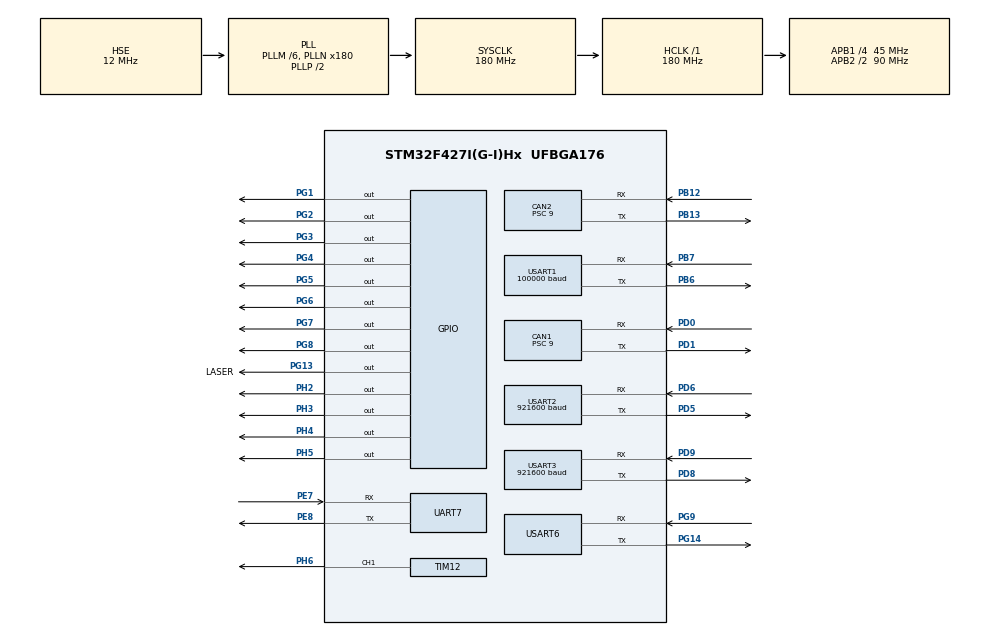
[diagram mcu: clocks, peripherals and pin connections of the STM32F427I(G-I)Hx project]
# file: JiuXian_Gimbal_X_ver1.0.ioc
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CAN1.BS1=CAN_BS1_2TQ
CAN1.BS2=CAN_BS2_2TQ
CAN1.CalculateBaudRate=1000000
CAN1.CalculateTimeBit=1000
CAN1.CalculateTimeQuantum=200.0
CAN1.NART=ENABLE
CAN1.Prescaler=9
CAN2.BS1=CAN_BS1_2TQ
CAN2.BS2=CAN_BS2_2TQ
CAN2.CalculateBaudRate=1000000
CAN2.CalculateTimeBit=1000
CAN2.CalculateTimeQuantum=200.0
CAN2.Prescaler=9
Dma.Request0=USART3_RX
Dma.Request1=USART3_TX
Dma.Request2=USART6_RX
Dma.Request3=USART6_TX
Dma.Request4=USART1_RX
Dma.Request5=USART2_RX
Dma.Request6=USART2_TX
Dma.USART1_RX.4.Direction=DMA_PERIPH_TO_MEMORY
Dma.USART1_RX.4.FIFOMode=DMA_FIFOMODE_DISABLE
Dma.USART1_RX.4.Instance=DMA2_Stream2
Dma.USART1_RX.4.MemDataAlignment=DMA_MDATAALIGN_BYTE
Dma.USART1_RX.4.MemInc=DMA_MINC_ENABLE
Dma.USART1_RX.4.Mode=DMA_NORMAL
Dma.USART1_RX.4.PeriphDataAlignment=DMA_PDATAALIGN_BYTE
Dma.USART1_RX.4.PeriphInc=DMA_PINC_DISABLE
Dma.USART1_RX.4.Priority=DMA_PRIORITY_LOW
Dma.USART2_RX.5.Direction=DMA_PERIPH_TO_MEMORY
Dma.USART2_RX.5.FIFOMode=DMA_FIFOMODE_DISABLE
Dma.USART2_RX.5.Instance=DMA1_Stream5
Dma.USART2_RX.5.MemDataAlignment=DMA_MDATAALIGN_BYTE
Dma.USART2_RX.5.MemInc=DMA_MINC_ENABLE
Dma.USART2_RX.5.Mode=DMA_NORMAL
Dma.USART2_RX.5.PeriphDataAlignment=DMA_PDATAALIGN_BYTE
Dma.USART2_RX.5.PeriphInc=DMA_PINC_DISABLE
Dma.USART2_RX.5.Priority=DMA_PRIORITY_LOW
Dma.USART2_TX.6.Direction=DMA_MEMORY_TO_PERIPH
Dma.USART2_TX.6.FIFOMode=DMA_FIFOMODE_DISABLE
Dma.USART2_TX.6.Instance=DMA1_Stream6
Dma.USART2_TX.6.MemDataAlignment=DMA_MDATAALIGN_BYTE
Dma.USART2_TX.6.MemInc=DMA_MINC_ENABLE
Dma.USART2_TX.6.Mode=DMA_NORMAL
Dma.USART2_TX.6.PeriphDataAlignment=DMA_PDATAALIGN_BYTE
Dma.USART2_TX.6.PeriphInc=DMA_PINC_DISABLE
Dma.USART2_TX.6.Priority=DMA_PRIORITY_LOW
Dma.USART3_RX.0.Direction=DMA_PERIPH_TO_MEMORY
Dma.USART3_RX.0.FIFOMode=DMA_FIFOMODE_DISABLE
Dma.USART3_RX.0.Instance=DMA1_Stream1
Dma.USART3_RX.0.MemDataAlignment=DMA_MDATAALIGN_BYTE
Dma.USART3_RX.0.MemInc=DMA_MINC_ENABLE
Dma.USART3_RX.0.Mode=DMA_NORMAL
Dma.USART3_RX.0.PeriphDataAlignment=DMA_PDATAALIGN_BYTE
Dma.USART3_RX.0.PeriphInc=DMA_PINC_DISABLE
Dma.USART3_RX.0.Priority=DMA_PRIORITY_LOW
Dma.USART3_TX.1.Direction=DMA_MEMORY_TO_PERIPH
Dma.USART3_TX.1.FIFOMode=DMA_FIFOMODE_DISABLE
Dma.USART3_TX.1.Instance=DMA1_Stream3
Dma.USART3_TX.1.MemDataAlignment=DMA_MDATAALIGN_BYTE
Dma.USART3_TX.1.MemInc=DMA_MINC_ENABLE
Dma.USART3_TX.1.Mode=DMA_NORMAL
Dma.USART3_TX.1.PeriphDataAlignment=DMA_PDATAALIGN_BYTE
Dma.USART3_TX.1.PeriphInc=DMA_PINC_DISABLE
Dma.USART3_TX.1.Priority=DMA_PRIORITY_LOW
Dma.USART6_RX.2.Direction=DMA_PERIPH_TO_MEMORY
Dma.USART6_RX.2.FIFOMode=DMA_FIFOMODE_DISABLE
Dma.USART6_RX.2.Instance=DMA2_Stream1
Dma.USART6_RX.2.MemDataAlignment=DMA_MDATAALIGN_BYTE
Dma.USART6_RX.2.MemInc=DMA_MINC_ENABLE
Dma.USART6_RX.2.Mode=DMA_NORMAL
Dma.USART6_RX.2.PeriphDataAlignment=DMA_PDATAALIGN_BYTE
Dma.USART6_RX.2.PeriphInc=DMA_PINC_DISABLE
Dma.USART6_RX.2.Priority=DMA_PRIORITY_LOW
Dma.USART6_TX.3.Direction=DMA_MEMORY_TO_PERIPH
Dma.USART6_TX.3.FIFOMode=DMA_FIFOMODE_DISABLE
Dma.USART6_TX.3.Instance=DMA2_Stream6
Dma.USART6_TX.3.MemDataAlignment=DMA_MDATAALIGN_BYTE
Dma.USART6_TX.3.MemInc=DMA_MINC_ENABLE
Dma.USART6_TX.3.Mode=DMA_NORMAL
Dma.USART6_TX.3.PeriphDataAlignment=DMA_PDATAALIGN_BYTE
Dma.USART6_TX.3.PeriphInc=DMA_PINC_DISABLE
Dma.USART6_TX.3.Priority=DMA_PRIORITY_LOW
FREERTOS.Tasks01=ctrlTask,50,1024,ctrl_node,As weak,NULL,Dynamic,NULL,NULL;DebugTask,50,256,Serial_node,As weak,NULL,Dynamic,NULL,NULL;Master_task,50,512,Master_node,As weak,Master_node,Dynamic,NULL,NULL;sentry_buzzer,50,256,buzzer_task,As weak,NULL,Dynamic,NULL,NULL
FREERTOS.configENABLE_FPU=1
Mcu.Family=STM32F4
Mcu.Name=STM32F427I(G-I)Hx
Mcu.Package=UFBGA176
NVIC.CAN1_RX0_IRQn=true\:5\:0\:false\:false\:true\:true\:true\:true\:true
NVIC.CAN2_RX0_IRQn=true\:5\:0\:false\:false\:true\:true\:true\:true\:true
NVIC.CAN2_RX1_IRQn=true\:5\:0\:false\:false\:true\:true\:true\:true\:true
NVIC.DMA1_Stream1_IRQn=true\:5\:0\:false\:false\:true\:true\:false\:true\:true
NVIC.DMA1_Stream3_IRQn=true\:5\:0\:false\:false\:true\:true\:false\:true\:true
NVIC.DMA1_Stream5_IRQn=true\:5\:0\:false\:false\:true\:true\:false\:true\:true
NVIC.DMA1_Stream6_IRQn=true\:5\:0\:false\:false\:true\:true\:false\:true\:true
NVIC.DMA2_Stream1_IRQn=true\:5\:0\:false\:false\:true\:true\:false\:true\:true
NVIC.DMA2_Stream2_IRQn=true\:5\:0\:false\:false\:true\:true\:false\:true\:true
NVIC.DMA2_Stream6_IRQn=true\:5\:0\:false\:false\:true\:true\:false\:true\:true
NVIC.PriorityGroup=NVIC_PRIORITYGROUP_4
NVIC.TIM1_UP_TIM10_IRQn=true\:5\:0\:false\:false\:true\:true\:true\:true\:true
NVIC.TIM2_IRQn=true\:15\:0\:false\:false\:true\:false\:false\:true\:true
NVIC.TimeBase=TIM2_IRQn
NVIC.TimeBaseIP=TIM2
NVIC.USART1_IRQn=true\:5\:0\:false\:false\:true\:true\:true\:true\:true
NVIC.USART2_IRQn=true\:5\:0\:false\:false\:true\:true\:true\:true\:true
NVIC.USART3_IRQn=true\:5\:0\:false\:false\:true\:true\:true\:true\:true
NVIC.USART6_IRQn=true\:5\:0\:false\:false\:true\:true\:true\:true\:true
PA13.Mode=Serial_Wire
PA13.Signal=SYS_JTMS-SWDIO
PA14.Mode=Serial_Wire
PA14.Signal=SYS_JTCK-SWCLK
PB12.Mode=CAN_Activate
PB12.Signal=CAN2_RX
PB13.Mode=CAN_Activate
PB13.Signal=CAN2_TX
PB6.Mode=Asynchronous
PB6.Signal=USART1_TX
PB7.Mode=Asynchronous
PB7.Signal=USART1_RX
PD0.Mode=CAN_Activate
PD0.Signal=CAN1_RX
PD1.Mode=CAN_Activate
PD1.Signal=CAN1_TX
PD5.Mode=Asynchronous
PD5.Signal=USART2_TX
PD6.Mode=Asynchronous
PD6.Signal=USART2_RX
PD8.Mode=Asynchronous
PD8.Signal=USART3_TX
PD9.Mode=Asynchronous
PD9.Signal=USART3_RX
PE7.Mode=Asynchronous
PE7.Signal=UART7_RX
PE8.Mode=Asynchronous
PE8.Signal=UART7_TX
PG1.Signal=GPIO_Output
PG13.GPIO_Label=LASER
PG13.Signal=GPIO_Output
PG14.Mode=Asynchronous
PG14.Signal=USART6_TX
PG2.Signal=GPIO_Output
PG3.Signal=GPIO_Output
PG4.Signal=GPIO_Output
PG5.Signal=GPIO_Output
PG6.Signal=GPIO_Output
PG7.Signal=GPIO_Output
PG8.Signal=GPIO_Output
PG9.Mode=Asynchronous
PG9.Signal=USART6_RX
PH0/OSC_IN.Mode=HSE-External-Oscillator
PH0/OSC_IN.Signal=RCC_OSC_IN
PH1/OSC_OUT.Mode=HSE-External-Oscillator
PH1/OSC_OUT.Signal=RCC_OSC_OUT
PH2.Signal=GPIO_Output
PH3.Signal=GPIO_Output
PH4.Signal=GPIO_Output
PH5.Signal=GPIO_Output
PH6.Signal=S_TIM12_CH1
ProjectManager.HeapSize=0x2000
ProjectManager.StackSize=0x4000
ProjectManager.TargetToolchain=MDK-ARM V5.32
RCC.48MHZClocksFreq_Value=90000000
RCC.AHBFreq_Value=180000000
RCC.APB1CLKDivider=RCC_HCLK_DIV4
RCC.APB1Freq_Value=45000000
RCC.APB1TimFreq_Value=90000000
RCC.APB2CLKDivider=RCC_HCLK_DIV2
RCC.APB2Freq_Value=90000000
RCC.APB2TimFreq_Value=180000000
RCC.CortexFreq_Value=180000000
RCC.HCLKFreq_Value=180000000
RCC.HSE_VALUE=12000000
RCC.HSI_VALUE=16000000
RCC.LSE_VALUE=32768
RCC.PLLM=6
RCC.PLLN=180
RCC.PLLSourceVirtual=RCC_PLLSOURCE_HSE
RCC.SYSCLKFreq_VALUE=180000000
RCC.SYSCLKSource=RCC_SYSCLKSOURCE_PLLCLK
RCC.VCOOutputFreq_Value=360000000
SH.S_TIM12_CH1.0=TIM12_CH1,PWM Generation1 CH1
STMicroelectronics.X-CUBE-ALGOBUILD.1.4.0.LibraryCcDSPOoLibraryJjDSPOoLibrary=true
TIM1.Period=9999
TIM1.Prescaler=179
TIM12.Channel-PWM\ Generation1\ CH1=TIM_CHANNEL_1
TIM12.Period=899
UART7.VirtualMode=Asynchronous
USART1.BaudRate=100000
USART1.Parity=PARITY_EVEN
USART1.StopBits=STOPBITS_2
USART1.VirtualMode=VM_ASYNC
USART1.WordLength=WORDLENGTH_9B
USART2.BaudRate=921600
USART2.VirtualMode=VM_ASYNC
USART3.BaudRate=921600
USART3.VirtualMode=VM_ASYNC
USART6.VirtualMode=VM_ASYNC
VP_FREERTOS_VS_CMSIS_V2.Mode=CMSIS_V2
VP_STMicroelectronics.X-CUBE-ALGOBUILD_VS_DSPOoLibraryJjLibrary_1.4.0_1.4.0.Mode=DSPOoLibraryJjLibrary
VP_SYS_VS_tim2.Mode=TIM2
VP_TIM1_VS_ClockSourceINT.Mode=Internal
board=custom

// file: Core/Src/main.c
/* USER CODE BEGIN Header */
/**
  ******************************************************************************
  * @file           : main.c
  * @brief          : Main program body
  ******************************************************************************
  * @attention
  *
  * Copyright (c) 2025 STMicroelectronics.
  * All rights reserved.
  *
  * This software is licensed under terms that can be found in the LICENSE file
  * in the root directory of this software component.
  * If no LICENSE file comes with this software, it is provided AS-IS.
  *
  ******************************************************************************
  */
/* USER CODE END Header */
#include "main.h"
#include "cmsis_os.h"
#include "can.h"
#include "dma.h"
#include "tim.h"
#include "usart.h"
#include "gpio.h"

/* USER CODE BEGIN Includes */
#include "bsp_can.h"
#include "stdio.h"

#include "SerialPlot.h"

#include "bsp_can.h"
#include "Flysky_bsp.h"
#include "bsp_wit.h"

#include "ctrl_node.h"
#include "master_node.h"

#include "NLADRC_ver1.h"
/* USER CODE END Includes */

/* USER CODE BEGIN PV */
extern Motor_info_t  Pitch_Motor;
extern Motor_info_t  Fire_Motor[2];
extern int16_t       current_test;
extern int32_t       test_tick;
extern nladrc_t      GM6020_nladrc;
extern sentry_remote sentry_Remote;

extern _sentry_normal_auto_data_t Auto_Mode;
extern _sentry_remote_data_t      RemoteCtrl;
extern _sentry_data_t             sentry_RM2026;
extern wit_imu_t                  wit;
/* USER CODE END PV */

void SystemClock_Config(void);
void MX_FREERTOS_Init(void);

/* USER CODE BEGIN 0 */
int fputc(int ch, FILE *f)
{
	HAL_UART_Transmit(&huart7, (uint8_t *)&ch, 1, 0xFFFF);
  return ch;
}
/* USER CODE END 0 */

int main(void)
{

  /* MCU Configuration--------------------------------------------------------*/

  /* Reset of all peripherals, Initializes the Flash interface and the Systick. */
  HAL_Init();

  /* Configure the system clock */
  SystemClock_Config();

  /* Initialize all configured peripherals */
  MX_GPIO_Init();
  MX_DMA_Init();
  MX_CAN1_Init();
  MX_CAN2_Init();
  MX_USART3_UART_Init();
  MX_USART6_UART_Init();
  MX_USART1_UART_Init();
  MX_USART2_UART_Init();
  MX_TIM1_Init();
  MX_TIM12_Init();
  MX_UART7_Init();
  /* USER CODE BEGIN 2 */
  HAL_TIM_Base_Start_IT(&htim1);
	HAL_TIM_Base_Start(&htim12);
	HAL_TIM_PWM_Start(&htim12, TIM_CHANNEL_1);
	can1_filter_init();
	can2_filter_init();
	HAL_GPIO_WritePin(LASER_GPIO_Port, LASER_Pin, 1);
	HAL_GPIO_WritePin(GPIOH, GPIO_PIN_2 | GPIO_PIN_3 | GPIO_PIN_4 | GPIO_PIN_5, 1);
  HAL_GPIO_WritePin(GPIOG,GPIO_PIN_1|GPIO_PIN_2|GPIO_PIN_3|GPIO_PIN_4|GPIO_PIN_5|GPIO_PIN_6|GPIO_PIN_7|GPIO_PIN_8,1);
  /* USER CODE END 2 */

  /* Init scheduler */
  osKernelInitialize();  /* Call init function for freertos objects (in cmsis_os2.c) */
  MX_FREERTOS_Init();

  /* Start scheduler */
  osKernelStart();

  /* We should never get here as control is now taken by the scheduler */

  /* Infinite loop */
  while (1)
  {

  }
}

void SystemClock_Config(void)
{
  RCC_OscInitTypeDef RCC_OscInitStruct = {0};
  RCC_ClkInitTypeDef RCC_ClkInitStruct = {0};

  /** Configure the main internal regulator output voltage
  */
  __HAL_RCC_PWR_CLK_ENABLE();
  __HAL_PWR_VOLTAGESCALING_CONFIG(PWR_REGULATOR_VOLTAGE_SCALE1);

  /** Initializes the RCC Oscillators according to the specified parameters
  * in the RCC_OscInitTypeDef structure.
  */
  RCC_OscInitStruct.OscillatorType = RCC_OSCILLATORTYPE_HSE;
  RCC_OscInitStruct.HSEState = RCC_HSE_ON;
  RCC_OscInitStruct.PLL.PLLState = RCC_PLL_ON;
  RCC_OscInitStruct.PLL.PLLSource = RCC_PLLSOURCE_HSE;
  RCC_OscInitStruct.PLL.PLLM = 6;
  RCC_OscInitStruct.PLL.PLLN = 180;
  RCC_OscInitStruct.PLL.PLLP = RCC_PLLP_DIV2;
  RCC_OscInitStruct.PLL.PLLQ = 4;
  if (HAL_RCC_OscConfig(&RCC_OscInitStruct) != HAL_OK)
  {
    Error_Handler();
  }

  /** Activate the Over-Drive mode
  */
  if (HAL_PWREx_EnableOverDrive() != HAL_OK)
  {
    Error_Handler();
  }

  /** Initializes the CPU, AHB and APB buses clocks
  */
  RCC_ClkInitStruct.ClockType = RCC_CLOCKTYPE_HCLK|RCC_CLOCKTYPE_SYSCLK
                              |RCC_CLOCKTYPE_PCLK1|RCC_CLOCKTYPE_PCLK2;
  RCC_ClkInitStruct.SYSCLKSource = RCC_SYSCLKSOURCE_PLLCLK;
  RCC_ClkInitStruct.AHBCLKDivider = RCC_SYSCLK_DIV1;
  RCC_ClkInitStruct.APB1CLKDivider = RCC_HCLK_DIV4;
  RCC_ClkInitStruct.APB2CLKDivider = RCC_HCLK_DIV2;

  if (HAL_RCC_ClockConfig(&RCC_ClkInitStruct, FLASH_LATENCY_5) != HAL_OK)
  {
    Error_Handler();
  }
}

//void HAL_TIM_PeriodElapsedCallback(TIM_HandleTypeDef *htim)
//{
//  /* USER CODE BEGIN Callback 0 */

//  /* USER CODE END Callback 0 */
//  if (htim->Instance == TIM2)
//  {
//    HAL_IncTick();
//  }
//  /* USER CODE BEGIN Callback 1 */

//  /* USER CODE END Callback 1 */
//}

void Error_Handler(void)
{
  __disable_irq();
  while (1)
  {
  }
}

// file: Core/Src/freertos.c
/* USER CODE BEGIN Header */
/**
  ******************************************************************************
  * File Name          : freertos.c
  * Description        : Code for freertos applications
  ******************************************************************************
  * @attention
  *
  * Copyright (c) 2025 STMicroelectronics.
  * All rights reserved.
  *
  * This software is licensed under terms that can be found in the LICENSE file
  * in the root directory of this software component.
  * If no LICENSE file comes with this software, it is provided AS-IS.
  *
  ******************************************************************************
  */
/* USER CODE END Header */

#include "FreeRTOS.h"
#include "task.h"
#include "main.h"
#include "cmsis_os.h"

/* USER CODE BEGIN Includes */
#include "bsp_buzzer.h"
#include "master_node.h"
#include "Flysky_bsp.h"
#include "auto_mode.h"
/* USER CODE END Includes */

/* USER CODE BEGIN Variables */
extern _sentry_data_t             sentry_RM2026;
extern sentry_remote              sentry_Remote;
extern JiuXian_Logic_info_t       Soul_of_JiuXian;
/* USER CODE END Variables */
/* Definitions for ctrlTask */
osThreadId_t ctrlTaskHandle;
const osThreadAttr_t ctrlTask_attributes = {
  .name = "ctrlTask",
  .stack_size = 1024 * 4,
  .priority = (osPriority_t) osPriorityRealtime2,
};
/* Definitions for DebugTask */
osThreadId_t DebugTaskHandle;
const osThreadAttr_t DebugTask_attributes = {
  .name = "DebugTask",
  .stack_size = 256 * 4,
  .priority = (osPriority_t) osPriorityRealtime2,
};
/* Definitions for Master_task */
osThreadId_t Master_taskHandle;
const osThreadAttr_t Master_task_attributes = {
  .name = "Master_task",
  .stack_size = 512 * 4,
  .priority = (osPriority_t) osPriorityRealtime2,
};
/* Definitions for sentry_buzzer */
osThreadId_t sentry_buzzerHandle;
const osThreadAttr_t sentry_buzzer_attributes = {
  .name = "sentry_buzzer",
  .stack_size = 256 * 4,
  .priority = (osPriority_t) osPriorityRealtime2,
};

void ctrl_node(void *argument);
void Serial_node(void *argument);
void Master_node(void *argument);
void buzzer_task(void *argument);

void MX_FREERTOS_Init(void); /* (MISRA C 2004 rule 8.1) */

void MX_FREERTOS_Init(void) {

  /* Create the thread(s) */
  /* creation of ctrlTask */
  ctrlTaskHandle = osThreadNew(ctrl_node, NULL, &ctrlTask_attributes);

  /* creation of DebugTask */
  DebugTaskHandle = osThreadNew(Serial_node, NULL, &DebugTask_attributes);

  /* creation of Master_task */
  Master_taskHandle = osThreadNew(Master_node, (void*) Master_node, &Master_task_attributes);

  /* creation of sentry_buzzer */
  sentry_buzzerHandle = osThreadNew(buzzer_task, NULL, &sentry_buzzer_attributes);

}

__weak void ctrl_node(void *argument)
{
  for(;;)
  {
    osDelay(1);
  }
}

__weak void Serial_node(void *argument)
{
  for(;;)
  {
    osDelay(1);
  }
}

__weak void Master_node(void *argument)
{
  for(;;)
  {
    osDelay(1);
  }
}

__weak void buzzer_task(void *argument)
{
  /* USER CODE BEGIN buzzer_task */
	sentry_open();
  /* Infinite loop */
  for(;;)
  {
    // if(sentry_Remote.ctrl.mode_switch == AUTOMATION_MODE)
    // {
    //       if(sentry_RM2026.shoot_vel != 0 && sentry_RM2026.pluck_vel != 0)
    //       {
    //               attack_status(29,800);
    //       }else{
    //               normal_status(29,1400);
    //       }
    //       osDelay(0);
    // }
    // else{
    //       osDelay(10);
    // }
    if (Soul_of_JiuXian.Mode == AUTO_SCAN)
    {
       normal_status(29,1400);
       taskYIELD();
    }else if (Soul_of_JiuXian.Mode == STRICKER)
    {
       attack_status(29,800);
       taskYIELD();
    }else {
       osDelay(10);
    }
  }
  /* USER CODE END buzzer_task */
}
